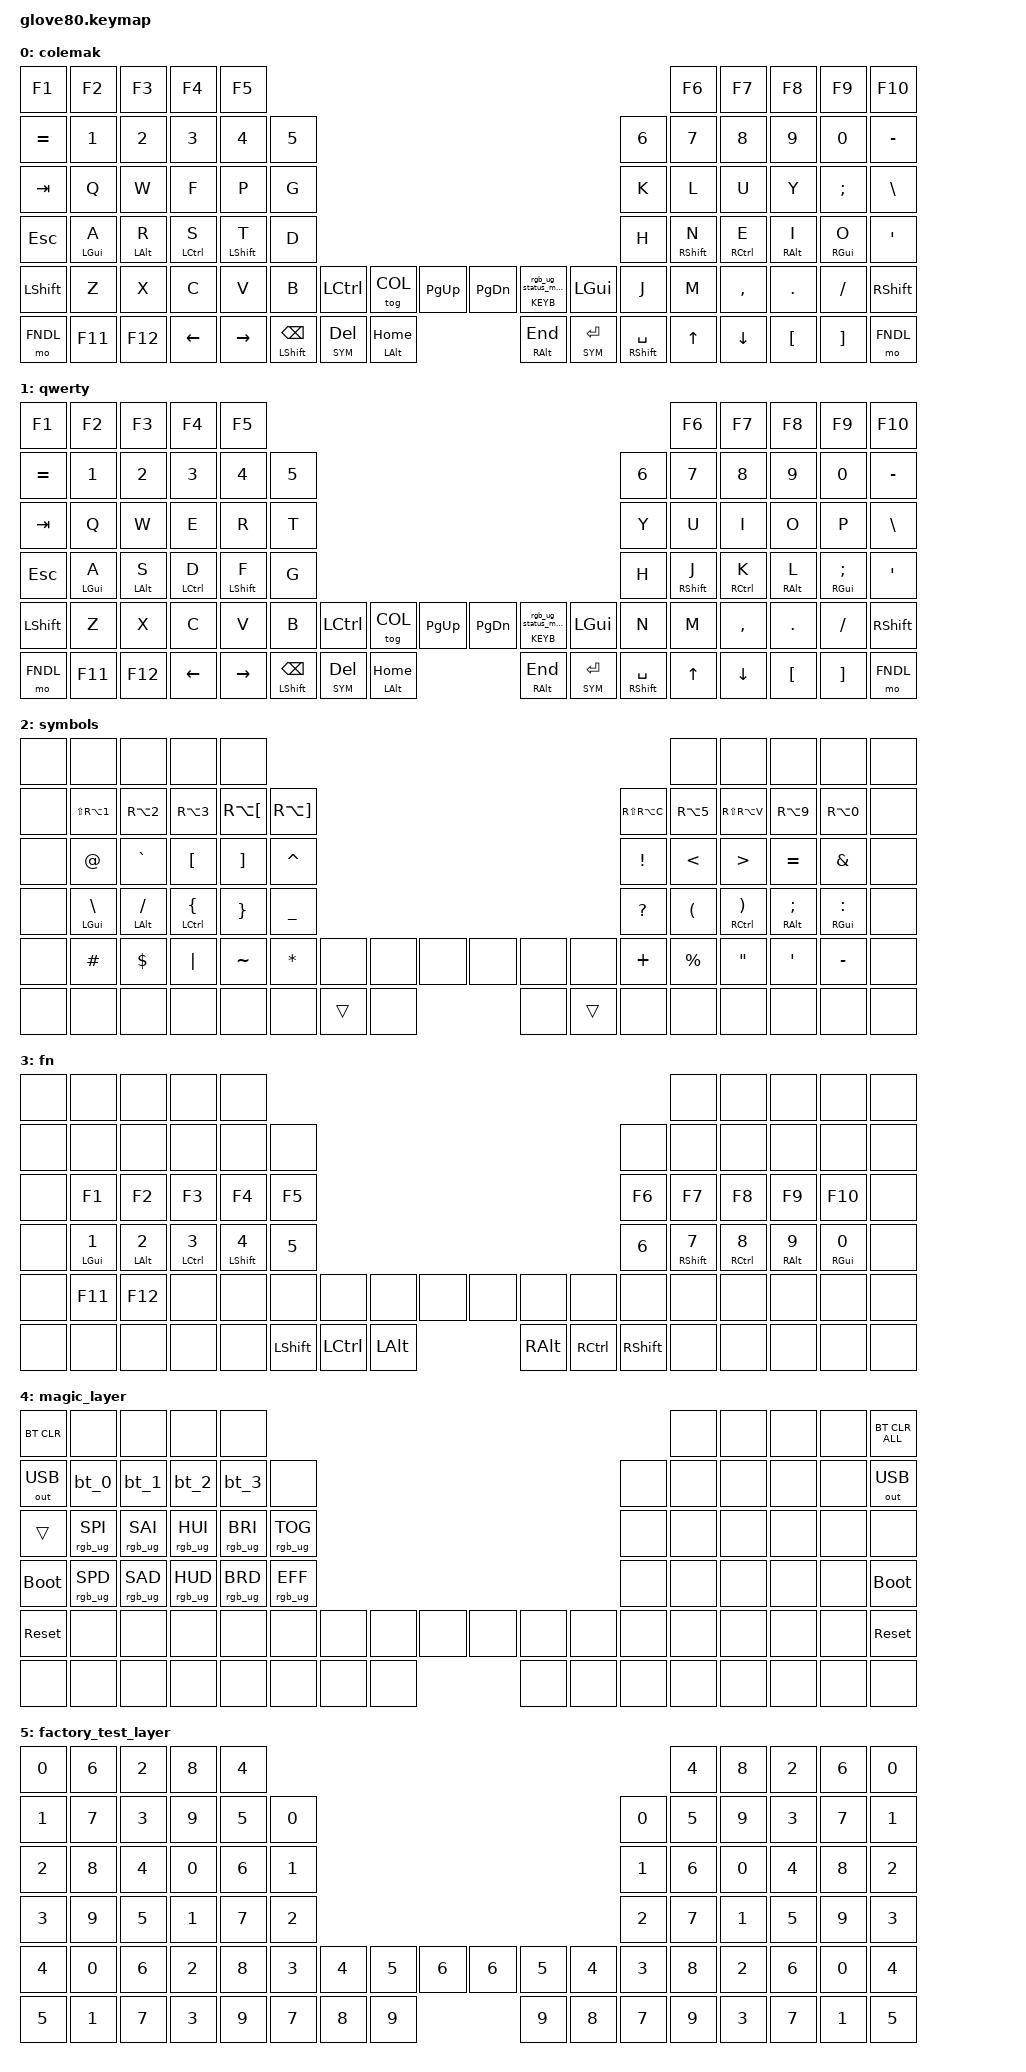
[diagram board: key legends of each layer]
/*
 * Copyright (c) 2020 The ZMK Contributors
 *
 * SPDX-License-Identifier: MIT
 */

#include <behaviors.dtsi>
#include <dt-bindings/zmk/keys.h>
#include <dt-bindings/zmk/bt.h>
#include <dt-bindings/zmk/ext_power.h>
#include <dt-bindings/zmk/outputs.h>
#include <dt-bindings/zmk/rgb.h>

&mt {
    flavor = "hold-preferred";
    require-prior-idle-ms= <125>;
    tapping-term-ms = <200>;
    quick-tap-ms = <200>;
};

&lt {
    flavor = "hold-preferred";
    require-prior-idle-ms= <125>;
    tapping-term-ms = <200>;
    quick-tap-ms = <200>;
};

#define COL 1
#define SYM 2
#define FNDL 3
#define KEYB 4

/ {
    behaviors {
        magic: magic_hold_tap {
            compatible = "zmk,behavior-hold-tap";
            label = "MAGIC_HOLD_TAP";
            #binding-cells = <2>;
            flavor = "tap-preferred";
            tapping-term-ms = <200>;
            bindings = <&mo>, <&rgb_ug_status_macro>;
        };
        hr: homerow {
            compatible = "zmk,behavior-hold-tap";
            #binding-cells = <2>;
            flavor = "tap-preferred";
            tapping-term-ms = <300>;
            quick-tap-ms = <200>;
            require-prior-idle-ms = <125>;
            bindings = <&kp>, <&kp>;
        };
    };

    macros {
        rgb_ug_status_macro: rgb_ug_status_macro_0 {
            label = "RGB_UG_STATUS";
            compatible = "zmk,behavior-macro";
            #binding-cells = <0>;
            bindings
                = <&rgb_ug RGB_STATUS>;
        };

        bt_0: bt_profile_macro_0 {
            label = "BT_0";
            compatible = "zmk,behavior-macro";
            #binding-cells = <0>;
            bindings
                = <&out OUT_BLE>,
                  <&bt BT_SEL 0>;
        };

        bt_1: bt_profile_macro_1 {
            label = "BT_1";
            compatible = "zmk,behavior-macro";
            #binding-cells = <0>;
            bindings
                = <&out OUT_BLE>,
                  <&bt BT_SEL 1>;
        };

        bt_2: bt_profile_macro_2 {
            label = "BT_2";
            compatible = "zmk,behavior-macro";
            #binding-cells = <0>;
            bindings
                = <&out OUT_BLE>,
                  <&bt BT_SEL 2>;
        };

        bt_3: bt_profile_macro_3 {
            label = "BT_3";
            compatible = "zmk,behavior-macro";
            #binding-cells = <0>;
            bindings
                = <&out OUT_BLE>,
                  <&bt BT_SEL 3>;
        };
    };

    keymap {
        compatible = "zmk,keymap";
        /*0*/
        colemak {
            bindings = <
                    &kp F1      &kp F2        &kp F3      &kp F4       &kp F5                                                                                                          &kp F6      &kp F7      &kp F8      &kp F9    &kp F10
                 &kp EQUAL      &kp N1        &kp N2      &kp N3       &kp N4  &kp N5                                                                                      &kp N6      &kp N7      &kp N8      &kp N9      &kp N0  &kp MINUS
                   &kp TAB       &kp Q         &kp W       &kp F        &kp P   &kp G                                                                                       &kp K       &kp L       &kp U       &kp Y    &kp SEMI   &kp BSLH
                   &kp ESC  &hr LGUI A    &hr LALT R &hr LCTRL S &hr LSHIFT T   &kp D                                                                                       &kp H &hr RSHFT N &hr RCTRL E  &hr RALT I  &hr RGUI O    &kp SQT
                 &kp LSHFT       &kp Z         &kp X       &kp C        &kp V   &kp B      &kp LCTRL    &tog COL     &kp PG_UP  &kp    PG_DN &magic KEYB 0        &kp LGUI  &kp J       &kp M   &kp COMMA     &kp DOT    &kp FSLH  &kp RSHFT
                  &mo FNDL     &kp F11       &kp F12    &kp LEFT    &kp RIGHT         &mt LSHFT BSPC &lt SYM DEL &mt LALT HOME  &mt RALT END   &lt SYM RET &mt RSHFT SPACE             &kp UP    &kp DOWN    &kp LBKT    &kp RBKT   &mo FNDL 
            >;
        };
        /*1*/
        qwerty {
            bindings = <
                    &kp F1      &kp F2        &kp F3      &kp F4       &kp F5                                                                                                          &kp F6      &kp F7      &kp F8         &kp F9    &kp F10
                 &kp EQUAL      &kp N1        &kp N2      &kp N3       &kp N4  &kp N5                                                                                      &kp N6      &kp N7      &kp N8      &kp N9         &kp N0  &kp MINUS
                   &kp TAB       &kp Q         &kp W       &kp E        &kp R   &kp T                                                                                       &kp Y       &kp U       &kp I       &kp O          &kp P   &kp BSLH
                   &kp ESC  &hr LGUI A    &hr LALT S &hr LCTRL D &hr LSHIFT F   &kp G                                                                                       &kp H &hr RSHFT J &hr RCTRL K  &hr RALT L  &hr RGUI SEMI    &kp SQT
                 &kp LSHFT       &kp Z         &kp X       &kp C        &kp V   &kp B      &kp LCTRL    &tog COL     &kp PG_UP  &kp    PG_DN &magic KEYB 0        &kp LGUI  &kp N       &kp M   &kp COMMA     &kp DOT       &kp FSLH  &kp RSHFT
                  &mo FNDL     &kp F11       &kp F12    &kp LEFT    &kp RIGHT         &mt LSHFT BSPC &lt SYM DEL &mt LALT HOME  &mt RALT END   &lt SYM RET &mt RSHFT SPACE             &kp UP    &kp DOWN    &kp LBKT       &kp RBKT   &mo FNDL 
            >;
        };
        /*2*/
        symbols {
            bindings = <
                &none          &none         &none          &none        &none                                                                                &none          &none         &none          &none &none
                &none &kp LS(RA(N1))    &kp RA(N2)     &kp RA(N3) &kp RA(LBKT) &kp RA(RBKT)                                                &kp RS(RA(C)) &kp RA(N5)  &kp RS(RA(V))    &kp RA(N9)     &kp RA(N0) &none
                &none         &kp AT     &kp GRAVE       &kp LBKT     &kp RBKT    &kp CARET                                                     &kp EXCL     &kp LT         &kp GT     &kp EQUAL       &kp AMPS &none
                &none  &hr LGUI BSLH &hr LALT FSLH &hr LCTRL LBRC     &kp RBRC    &kp UNDER                                                    &kp QMARK   &kp LPAR &hr RCTRL RPAR &hr RALT SEMI &hr RGUI COLON &none
                &none       &kp HASH      &kp DLLR       &kp PIPE    &kp TILDE     &kp STAR &none   &none  &none  &none   &none &none           &kp PLUS  &kp PRCNT        &kp DQT      &kp APOS      &kp MINUS &none
                &none          &none         &none          &none        &none              &none  &trans  &none  &none  &trans &none                         &none          &none         &none          &none &none
            >;
        };
        /*3*/
        fn {
            bindings = <
                      &none        &none        &none        &none         &none                                                                                &none        &none       &none       &none &none
                      &none        &none        &none        &none         &none  &none                                                            &none        &none        &none       &none       &none &none
                      &none       &kp F1       &kp F2       &kp F3        &kp F4 &kp F5                                                           &kp F6       &kp F7       &kp F8      &kp F9     &kp F10 &none
                      &none  &hr LGUI N1  &hr LALT N2 &hr LCTRL N3  &hr LSHFT N4 &kp N5                                                           &kp N6 &hr RSHFT N7 &hr RCTRL N8 &hr RALT N9 &hr RGUI N0 &none
                      &none      &kp F11      &kp F12        &none         &none  &none     &none     &none    &none    &none     &none     &none  &none        &none     &none          &none       &none &none
                      &none        &none        &none        &none         &none        &kp LSHFT &kp LCTRL &kp LALT &kp RALT &kp RCTRL &kp RSHFT               &none     &none          &none       &none &none
            >;
        };
        /*4*/
        magic_layer {
            bindings = <
                 &bt BT_CLR            &none            &none            &none            &none                                                                    &none  &none  &none  &none  &bt BT_CLR_ALL
               &out OUT_USB            &bt_0            &bt_1            &bt_2            &bt_3            &none                                            &none  &none  &none  &none  &none    &out OUT_USB
                     &trans  &rgb_ug RGB_SPI  &rgb_ug RGB_SAI  &rgb_ug RGB_HUI  &rgb_ug RGB_BRI  &rgb_ug RGB_TOG                                            &none  &none  &none  &none  &none           &none
                &bootloader  &rgb_ug RGB_SPD  &rgb_ug RGB_SAD  &rgb_ug RGB_HUD  &rgb_ug RGB_BRD  &rgb_ug RGB_EFF                                            &none  &none  &none  &none  &none     &bootloader
                 &sys_reset            &none            &none            &none            &none            &none  &none  &none  &none  &none  &none  &none  &none  &none  &none  &none  &none      &sys_reset
                      &none            &none            &none            &none            &none                   &none  &none  &none  &none  &none  &none         &none  &none  &none  &none           &none
            >;
        };
        factory_test_layer {
            bindings = <
            &kp N0   &kp N6   &kp N2   &kp N8   &kp N4                                                                              &kp N4   &kp N8   &kp N2   &kp N6   &kp N0
            &kp N1   &kp N7   &kp N3   &kp N9   &kp N5   &kp N0                                                            &kp N0   &kp N5   &kp N9   &kp N3   &kp N7   &kp N1
            &kp N2   &kp N8   &kp N4   &kp N0   &kp N6   &kp N1                                                            &kp N1   &kp N6   &kp N0   &kp N4   &kp N8   &kp N2
            &kp N3   &kp N9   &kp N5   &kp N1   &kp N7   &kp N2                                                            &kp N2   &kp N7   &kp N1   &kp N5   &kp N9   &kp N3
            &kp N4   &kp N0   &kp N6   &kp N2   &kp N8   &kp N3   &kp N4   &kp N5   &kp N6      &kp N6   &kp N5   &kp N4   &kp N3   &kp N8   &kp N2   &kp N6   &kp N0   &kp N4
            &kp N5   &kp N1   &kp N7   &kp N3   &kp N9            &kp N7   &kp N8   &kp N9      &kp N9   &kp N8   &kp N7            &kp N9   &kp N3   &kp N7   &kp N1   &kp N5
            >;
        };
    };
};
